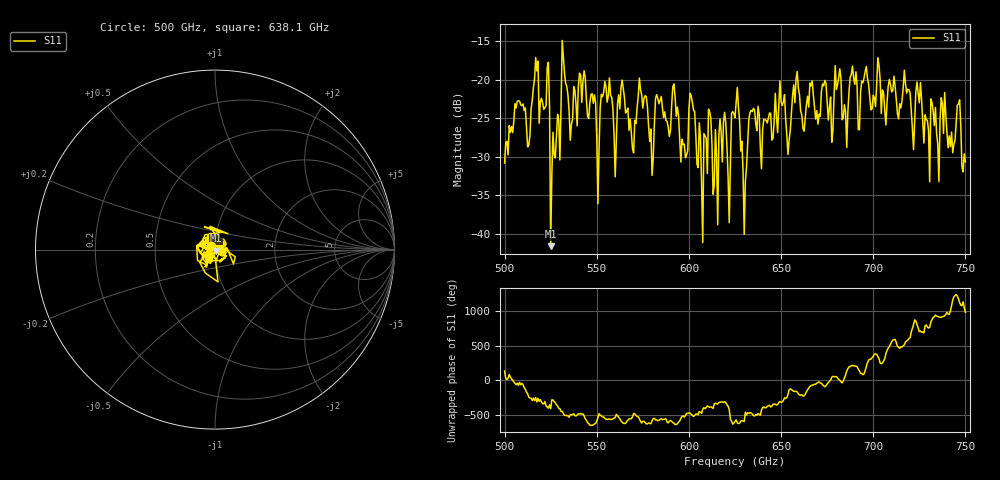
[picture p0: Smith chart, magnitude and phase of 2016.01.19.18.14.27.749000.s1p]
!Created with skrf (http://scikit-rf.org).
# GHz S RI R 50.0
!freq ReS11 ImS11
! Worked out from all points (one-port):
!   401 points, 500 GHz to 750 GHz, reference 50 ohm
!   lowest |S11| = -41.6 dB at 525 GHz (marker M1), VSWR 1.02, Z = 50.6 - j0.596 ohm
!   |S11| at or under -10 dB: start of sweep to end of sweep
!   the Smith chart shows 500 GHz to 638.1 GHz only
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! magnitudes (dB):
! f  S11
! 500 GHz  -30.8
! 506.9 GHz  -22.8
! 513.1 GHz  -28.5
! 516.9 GHz  -17.1
! 523.1 GHz  -18.4
! 525 GHz  -41.6
! 526.2 GHz  -26.8
! 531.2 GHz  -14.9
! 550.6 GHz  -36.1
! 553.8 GHz  -21.6
! 560 GHz  -32.6
! 562.5 GHz  -23.8
! 579.4 GHz  -26.4
! 583.1 GHz  -22.4
! 593.8 GHz  -23.5
! 598.1 GHz  -30.1
! 601.9 GHz  -22.9
! 606.2 GHz  -27.6
! 610.6 GHz  -23.8
! 614.4 GHz  -26.5
! 625 GHz  -24.9
! 630.6 GHz  -33.2
! 633.8 GHz  -24.0
! 656.2 GHz  -22.0
! 687.5 GHz  -19.7
! 718.8 GHz  -21.2
! 746.2 GHz  -23.1
! 750 GHz  -30.7
